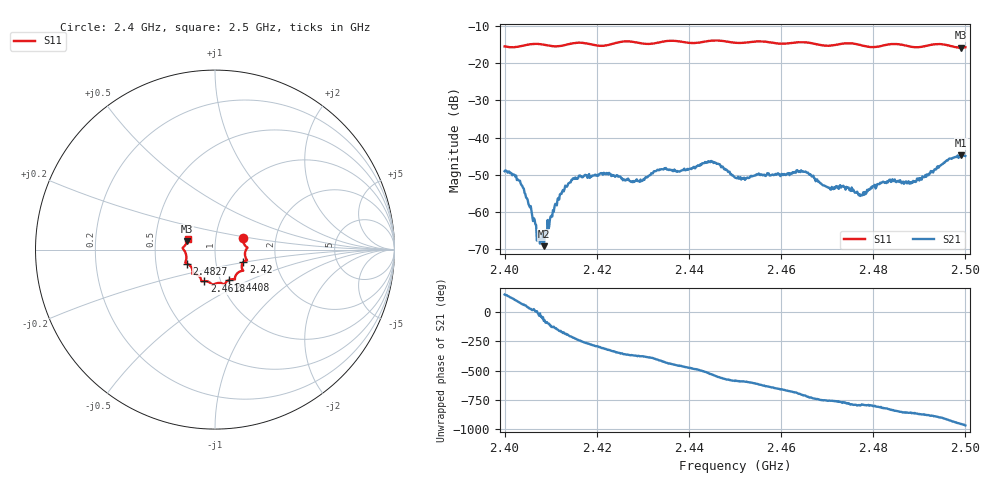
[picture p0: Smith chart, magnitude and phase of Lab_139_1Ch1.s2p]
# Hz S RI R 50
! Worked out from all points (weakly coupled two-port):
!   601 points, 2.4 GHz to 2.5 GHz, reference 50 ohm
!   highest |S21| = -44.80 dB at 2.499 GHz (marker M1); lowest = -69.2 dB at 2.4085 GHz (marker M2)
!   lowest |S11| = -15.8 dB at 2.499 GHz (marker M3), VSWR 1.39, Z = 36.5 + j3.52 ohm
!   |S11| at or under -10 dB: start of sweep to end of sweep
!   S12 and S22 are empty: the file has one direction only
!   S11 on the Smith chart (normalised r, x): 2.4 GHz: 1.36, +0.17; 2.42 GHz: 1.36, -0.19; 2.4408 GHz: 1.10, -0.38; 2.4618 GHz: 0.84, -0.30; 2.4827 GHz: 0.72, -0.12; 2.5 GHz: 0.73, +0.09
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2.4e9  0.1559 0.062  -0.00303 0.00184  0 0  0 0
2.403667e9  0.1687 0.0212  0.000736 0.00219  0 0  0 0
2.4075e9  0.1804 0.00987  0.000399 -0.000249  0 0  0 0
2.4085e9  0.177 0.0057  8.53e-05 -0.000338  0 0  0 0
2.412167e9  0.1672 -0.0317  -0.00167 -0.000569  0 0  0 0
2.416667e9  0.1781 -0.0593  -0.00093 0.00289  0 0  0 0
2.42e9  0.1581 -0.0693  0.00112 0.00287  0 0  0 0
2.427833e9  0.1531 -0.1181  0.00248 -0.000467  0 0  0 0
2.433333e9  0.1121 -0.1519  0.0024 -0.00278  0 0  0 0
2.440833e9  0.0789 -0.1688  -0.0022 -0.00322  0 0  0 0
2.445333e9  0.0527 -0.1943  -0.00456 -8.24e-06  0 0  0 0
2.45e9  0.0279 -0.1858  -0.00189 0.0022  0 0  0 0
2.461833e9  -0.0601 -0.1754  0.00225 0.00218  0 0  0 0
2.466667e9  -0.0771 -0.1683  0.00292 -0.000696  0 0  0 0
2.470333e9  -0.0983 -0.1403  0.00169 -0.00128  0 0  0 0
2.473333e9  -0.1228 -0.135  0.00123 -0.00185  0 0  0 0
2.477167e9  -0.1251 -0.1231  0.000318 -0.00162  0 0  0 0
2.482667e9  -0.1573 -0.0778  -0.000544 -0.00245  0 0  0 0
2.483333e9  -0.1615 -0.0763  -0.000857 -0.00248  0 0  0 0
2.488667e9  -0.1594 -0.0409  -0.00209 -0.00159  0 0  0 0
2.499e9  -0.1545 0.047  -0.00316 0.00481  0 0  0 0
2.5e9  -0.1518 0.0615  -0.00204 0.00528  0 0  0 0
